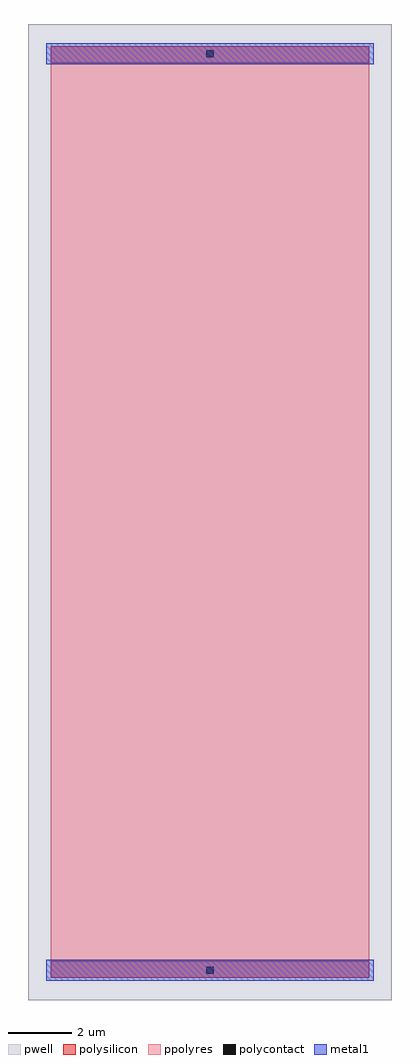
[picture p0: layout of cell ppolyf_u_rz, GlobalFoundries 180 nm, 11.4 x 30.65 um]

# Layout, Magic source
magic
tech gf180mcuD
magscale 1 10
<< ppolyres >>
rect -1000 -2823 1000 2823
<< polysilicon >>
rect -1000 2823 1000 2925
rect -1000 -2925 1000 -2823
<< polycontact >>
rect -22 2855 22 2901
rect -22 -2901 22 -2855
<< metal1 >>
rect -1030 2813 1030 2943
rect -1030 -2943 1030 -2813
<< pwell >>
rect -1140 -3065 1140 3065
<< properties >>
<< end >>
